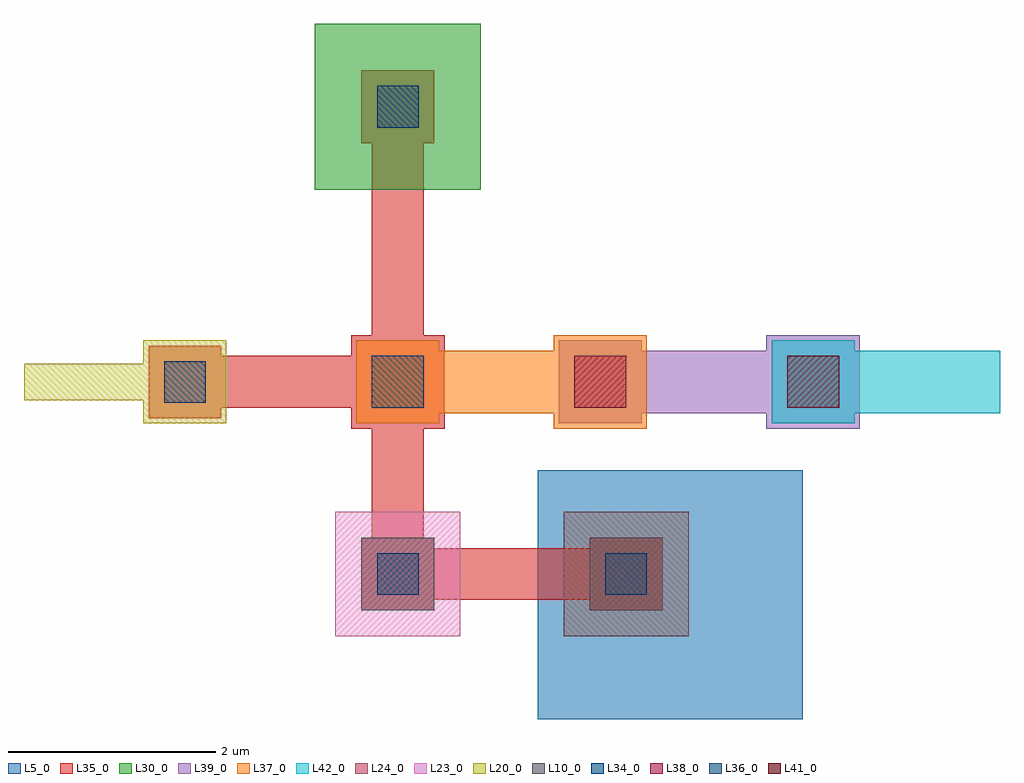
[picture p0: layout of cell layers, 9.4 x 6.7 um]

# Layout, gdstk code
import gdstk
lib = gdstk.Library(unit=1e-6, precision=1e-09)
def R(c, l, rs):  # rectangles x0, y0, x1, y1
    for r in rs: c.add(gdstk.rectangle(r[:2], r[2:], *l))
def P(c, l, *ps):  # polygons
    for p in ps: c.add(gdstk.Polygon(p, *l))
L5_0 = (5, 0)
L10_0 = (10, 0)
L20_0 = (20, 0)
L23_0 = (23, 0)
L24_0 = (24, 0)
L30_0 = (30, 0)
L34_0 = (34, 0)
L35_0 = (35, 0)
L36_0 = (36, 0)
L37_0 = (37, 0)
L38_0 = (38, 0)
L39_0 = (39, 0)
L41_0 = (41, 0)
L42_0 = (42, 0)

layers = lib.new_cell('layers')
R(layers, L5_0, [(4.95,1.9,7.5,4.3)])
R(layers, L10_0, [(3.25,2.95,3.95,3.65), (5.45,2.95,6.15,3.65)])
P(layers, L20_0, [(1.95,5.55),(1.15,5.55),(1.15,5.325),(0,5.325),(0,4.975),(1.15,4.975),(1.15,4.75),(1.95,4.75)])
R(layers, L23_0, [(3,2.7,4.2,3.9)])
R(layers, L24_0, [(5.2,2.7,6.4,3.9)])
R(layers, L30_0, [(2.8,7,4.4,8.6)])
R(layers, L34_0, [(3.4,3.1,3.8,3.5), (5.6,3.1,6,3.5), (1.35,4.95,1.75,5.35), (3.4,7.6,3.8,8)])
P(layers, L35_0, [(6.15,3.65),(5.45,3.65),(5.45,3.55),(3.95,3.55),(3.95,3.65),(3.85,3.65),(3.85,4.7),(4.05,4.7),(4.05,5.6),(3.85,5.6),(3.85,7.45),(3.95,7.45),(3.95,8.15),(3.25,8.15),(3.25,7.45),(3.35,7.45),(3.35,5.6),(3.15,5.6),(3.15,5.4),(1.9,5.4),(1.9,5.5),(1.2,5.5),(1.2,4.8),(1.9,4.8),(1.9,4.9),(3.15,4.9),(3.15,4.7),(3.35,4.7),(3.35,3.65),(3.25,3.65),(3.25,2.95),(3.95,2.95),(3.95,3.05),(5.45,3.05),(5.45,2.95),(6.15,2.95)])
R(layers, L36_0, [(3.35,4.9,3.85,5.4)])
P(layers, L37_0, [(6,5.6),(5.1,5.6),(5.1,5.45),(4,5.45),(4,5.55),(3.2,5.55),(3.2,4.75),(4,4.75),(4,4.85),(5.1,4.85),(5.1,4.7),(6,4.7)])
R(layers, L38_0, [(5.3,4.9,5.8,5.4)])
P(layers, L39_0, [(8.05,5.6),(7.15,5.6),(7.15,5.45),(5.95,5.45),(5.95,5.55),(5.15,5.55),(5.15,4.75),(5.95,4.75),(5.95,4.85),(7.15,4.85),(7.15,4.7),(8.05,4.7)])
R(layers, L41_0, [(7.35,4.9,7.85,5.4)])
P(layers, L42_0, [(9.4,5.45),(8,5.45),(8,5.55),(7.2,5.55),(7.2,4.75),(8,4.75),(8,4.85),(9.4,4.85)])

lib.write_gds('layers.gds')
